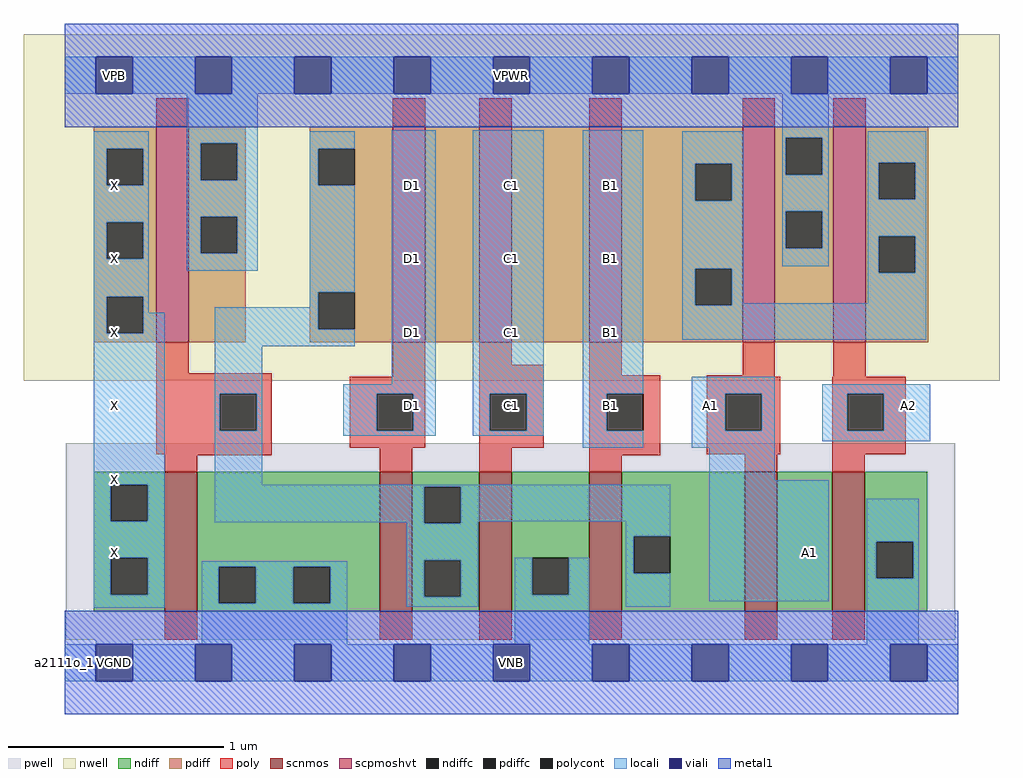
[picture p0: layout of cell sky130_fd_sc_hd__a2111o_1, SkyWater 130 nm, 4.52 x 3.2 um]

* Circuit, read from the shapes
.subckt sky130_fd_sc_hd__a2111o_1 A1 A2 B1 C1 D1 VGND VNB VPB VPWR X
XM1 VGND n1 X VNB sky130_fd_pr__nfet_01v8 w=0.65 l=0.15
XM2 n1 D1 VGND VNB sky130_fd_pr__nfet_01v8 w=0.65 l=0.15
XM3 VGND C1 n1 VNB sky130_fd_pr__nfet_01v8 w=0.65 l=0.15
XM4 n1 B1 VGND VNB sky130_fd_pr__nfet_01v8 w=0.65 l=0.15
XM5 n2 A1 n1 VNB sky130_fd_pr__nfet_01v8 w=0.65 l=0.15
XM6 VGND A2 n2 VNB sky130_fd_pr__nfet_01v8 w=0.65 l=0.15
XM7 VPWR n1 X VPB sky130_fd_pr__pfet_01v8_hvt w=1 l=0.15
XM8 n3 D1 n1 VPB sky130_fd_pr__pfet_01v8_hvt w=1 l=0.15
XM9 n4 C1 n3 VPB sky130_fd_pr__pfet_01v8_hvt w=1 l=0.15
XM10 n5 B1 n4 VPB sky130_fd_pr__pfet_01v8_hvt w=1 l=0.15
XM11 VPWR A1 n5 VPB sky130_fd_pr__pfet_01v8_hvt w=1 l=0.15
XM12 n5 A2 VPWR VPB sky130_fd_pr__pfet_01v8_hvt w=1 l=0.15
.ends

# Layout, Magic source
magic
tech sky130A
magscale 1 2
<< nwell >>
rect -38 261 866 582
<< pwell >>
rect 1 21 825 203
rect 29 -17 63 21
rect 397 -17 431 21
<< scnmos >>
rect 93 47 123 177
rect 292 47 322 177
rect 384 47 414 177
rect 486 47 516 177
rect 630 47 660 177
rect 711 47 741 177
<< scpmoshvt >>
rect 85 297 115 497
rect 304 297 334 497
rect 384 297 414 497
rect 486 297 516 497
rect 628 297 658 497
rect 712 297 742 497
<< ndiff >>
rect 27 165 93 177
rect 27 131 43 165
rect 77 131 93 165
rect 27 97 93 131
rect 27 63 43 97
rect 77 63 93 97
rect 27 47 93 63
rect 123 89 292 177
rect 123 55 143 89
rect 177 55 212 89
rect 246 55 292 89
rect 123 47 292 55
rect 322 163 384 177
rect 322 129 333 163
rect 367 129 384 163
rect 322 95 384 129
rect 322 61 333 95
rect 367 61 384 95
rect 322 47 384 61
rect 414 97 486 177
rect 414 63 433 97
rect 467 63 486 97
rect 414 47 486 63
rect 516 117 630 177
rect 516 83 527 117
rect 561 83 630 117
rect 516 47 630 83
rect 660 47 711 177
rect 741 112 799 177
rect 741 78 752 112
rect 786 78 799 112
rect 741 47 799 78
<< pdiff >>
rect 27 476 85 497
rect 27 442 39 476
rect 73 442 85 476
rect 27 408 85 442
rect 27 374 39 408
rect 73 374 85 408
rect 27 339 85 374
rect 27 305 39 339
rect 73 305 85 339
rect 27 297 85 305
rect 115 481 168 497
rect 115 447 126 481
rect 160 447 168 481
rect 115 413 168 447
rect 115 379 126 413
rect 160 379 168 413
rect 115 297 168 379
rect 227 476 304 497
rect 227 442 235 476
rect 269 442 304 476
rect 227 343 304 442
rect 227 309 235 343
rect 269 309 304 343
rect 227 297 304 309
rect 334 297 384 497
rect 414 297 486 497
rect 516 462 628 497
rect 516 428 584 462
rect 618 428 628 462
rect 516 365 628 428
rect 516 331 584 365
rect 618 331 628 365
rect 516 297 628 331
rect 658 486 712 497
rect 658 452 668 486
rect 702 452 712 486
rect 658 418 712 452
rect 658 384 668 418
rect 702 384 712 418
rect 658 297 712 384
rect 742 463 800 497
rect 742 429 754 463
rect 788 429 800 463
rect 742 395 800 429
rect 742 361 754 395
rect 788 361 800 395
rect 742 297 800 361
<< ndiffc >>
rect 43 131 77 165
rect 43 63 77 97
rect 143 55 177 89
rect 212 55 246 89
rect 333 129 367 163
rect 333 61 367 95
rect 433 63 467 97
rect 527 83 561 117
rect 752 78 786 112
<< pdiffc >>
rect 39 442 73 476
rect 39 374 73 408
rect 39 305 73 339
rect 126 447 160 481
rect 126 379 160 413
rect 235 442 269 476
rect 235 309 269 343
rect 584 428 618 462
rect 584 331 618 365
rect 668 452 702 486
rect 668 384 702 418
rect 754 429 788 463
rect 754 361 788 395
<< poly >>
rect 85 497 115 523
rect 304 497 334 523
rect 384 497 414 523
rect 486 497 516 523
rect 628 497 658 523
rect 712 497 742 523
rect 85 268 115 297
rect 85 249 192 268
rect 304 265 334 297
rect 85 215 144 249
rect 178 215 192 249
rect 85 193 192 215
rect 264 249 334 265
rect 264 215 289 249
rect 323 215 334 249
rect 264 199 334 215
rect 384 276 414 297
rect 384 249 444 276
rect 384 215 394 249
rect 428 215 444 249
rect 384 199 444 215
rect 486 266 516 297
rect 628 266 658 297
rect 486 249 552 266
rect 486 215 502 249
rect 536 215 552 249
rect 93 192 192 193
rect 93 177 123 192
rect 292 177 322 199
rect 384 177 414 199
rect 486 192 552 215
rect 595 265 658 266
rect 712 265 742 297
rect 595 249 663 265
rect 595 215 612 249
rect 646 215 663 249
rect 595 193 663 215
rect 711 249 779 265
rect 711 215 725 249
rect 759 215 779 249
rect 711 193 779 215
rect 486 177 516 192
rect 630 177 660 193
rect 711 177 741 193
rect 93 21 123 47
rect 292 21 322 47
rect 384 21 414 47
rect 486 21 516 47
rect 630 21 660 47
rect 711 21 741 47
<< polycont >>
rect 144 215 178 249
rect 289 215 323 249
rect 394 215 428 249
rect 502 215 536 249
rect 612 215 646 249
rect 725 215 759 249
<< locali >>
rect 0 527 29 561
rect 63 527 121 561
rect 155 527 213 561
rect 247 527 305 561
rect 339 527 397 561
rect 431 527 489 561
rect 523 527 581 561
rect 615 527 673 561
rect 707 527 765 561
rect 799 527 828 561
rect 27 476 78 492
rect 27 442 39 476
rect 73 442 78 476
rect 27 408 78 442
rect 27 374 39 408
rect 73 374 78 408
rect 27 339 78 374
rect 113 481 179 527
rect 113 447 126 481
rect 160 447 179 481
rect 113 413 179 447
rect 113 379 126 413
rect 160 379 179 413
rect 113 363 179 379
rect 227 476 269 492
rect 227 442 235 476
rect 27 305 39 339
rect 73 324 78 339
rect 227 343 269 442
rect 227 329 235 343
rect 73 305 93 324
rect 27 165 93 305
rect 27 131 43 165
rect 77 131 93 165
rect 27 97 93 131
rect 139 309 235 329
rect 139 293 269 309
rect 139 249 183 293
rect 303 258 344 493
rect 139 215 144 249
rect 178 215 183 249
rect 139 165 183 215
rect 258 249 344 258
rect 258 215 289 249
rect 323 215 344 249
rect 258 210 344 215
rect 378 249 444 493
rect 378 215 394 249
rect 428 215 444 249
rect 378 210 444 215
rect 480 249 536 493
rect 572 462 629 492
rect 572 428 584 462
rect 618 428 629 462
rect 572 365 629 428
rect 665 486 708 527
rect 665 452 668 486
rect 702 452 708 486
rect 665 418 708 452
rect 665 384 668 418
rect 702 384 708 418
rect 665 367 708 384
rect 744 463 798 492
rect 744 429 754 463
rect 788 429 798 463
rect 744 395 798 429
rect 572 331 584 365
rect 618 333 629 365
rect 744 361 754 395
rect 788 361 798 395
rect 744 333 798 361
rect 618 331 798 333
rect 572 299 798 331
rect 480 215 502 249
rect 480 199 536 215
rect 581 249 658 265
rect 581 215 612 249
rect 646 215 658 249
rect 581 199 658 215
rect 702 249 802 258
rect 702 215 725 249
rect 759 215 802 249
rect 702 205 802 215
rect 597 169 658 199
rect 139 163 561 165
rect 139 130 333 163
rect 27 63 43 97
rect 77 63 93 97
rect 317 129 333 130
rect 367 131 561 163
rect 367 129 383 131
rect 317 95 383 129
rect 520 117 561 131
rect 27 51 93 63
rect 127 89 262 94
rect 127 55 143 89
rect 177 55 212 89
rect 246 55 262 89
rect 127 17 262 55
rect 317 61 333 95
rect 367 61 383 95
rect 317 52 383 61
rect 417 63 433 97
rect 467 63 486 97
rect 417 17 486 63
rect 520 83 527 117
rect 520 52 561 83
rect 597 57 708 169
rect 743 112 791 152
rect 743 78 752 112
rect 786 78 791 112
rect 743 17 791 78
rect 0 -17 29 17
rect 63 -17 121 17
rect 155 -17 213 17
rect 247 -17 305 17
rect 339 -17 397 17
rect 431 -17 489 17
rect 523 -17 581 17
rect 615 -17 673 17
rect 707 -17 765 17
rect 799 -17 828 17
<< viali >>
rect 29 527 63 561
rect 121 527 155 561
rect 213 527 247 561
rect 305 527 339 561
rect 397 527 431 561
rect 489 527 523 561
rect 581 527 615 561
rect 673 527 707 561
rect 765 527 799 561
rect 29 -17 63 17
rect 121 -17 155 17
rect 213 -17 247 17
rect 305 -17 339 17
rect 397 -17 431 17
rect 489 -17 523 17
rect 581 -17 615 17
rect 673 -17 707 17
rect 765 -17 799 17
<< metal1 >>
rect 0 561 828 592
rect 0 527 29 561
rect 63 527 121 561
rect 155 527 213 561
rect 247 527 305 561
rect 339 527 397 561
rect 431 527 489 561
rect 523 527 581 561
rect 615 527 673 561
rect 707 527 765 561
rect 799 527 828 561
rect 0 496 828 527
rect 0 17 828 48
rect 0 -17 29 17
rect 63 -17 121 17
rect 155 -17 213 17
rect 247 -17 305 17
rect 339 -17 397 17
rect 431 -17 489 17
rect 523 -17 581 17
rect 615 -17 673 17
rect 707 -17 765 17
rect 799 -17 828 17
rect 0 -48 828 -17
<< labels >>
flabel nwell s 29 527 63 561 0 FreeSans 200 0 0 0 VPB
port 8 nsew power bidirectional
flabel metal1 s 29 -17 63 17 0 FreeSans 200 0 0 0 VGND
port 6 nsew ground bidirectional abutment
flabel metal1 s 29 527 63 561 0 FreeSans 200 0 0 0 VPWR
port 9 nsew power bidirectional abutment
flabel pwell s 397 -17 431 17 0 FreeSans 200 0 0 0 VNB
port 7 nsew ground bidirectional
flabel pwell s 29 -17 63 17 0 FreeSans 200 0 0 0 VNB
port 7 nsew ground bidirectional
flabel locali s 489 221 523 255 0 FreeSans 340 0 0 0 B1
port 3 nsew signal input
flabel locali s 29 425 63 459 0 FreeSans 340 0 0 0 X
port 10 nsew signal output
flabel locali s 305 221 339 255 0 FreeSans 340 0 0 0 D1
port 5 nsew signal input
flabel locali s 29 153 63 187 0 FreeSans 340 0 0 0 X
port 10 nsew signal output
flabel locali s 489 289 523 323 0 FreeSans 340 0 0 0 B1
port 3 nsew signal input
flabel locali s 673 85 707 119 0 FreeSans 340 0 0 0 A1
port 1 nsew signal input
flabel locali s 765 221 799 255 0 FreeSans 340 0 0 0 A2
port 2 nsew signal input
flabel locali s 29 357 63 391 0 FreeSans 340 0 0 0 X
port 10 nsew signal output
flabel locali s 29 289 63 323 0 FreeSans 340 0 0 0 X
port 10 nsew signal output
flabel locali s 29 221 63 255 0 FreeSans 340 0 0 0 X
port 10 nsew signal output
flabel locali s 29 85 63 119 0 FreeSans 340 0 0 0 X
port 10 nsew signal output
flabel locali s 397 357 431 391 0 FreeSans 340 0 0 0 C1
port 4 nsew signal input
flabel locali s 305 289 339 323 0 FreeSans 340 0 0 0 D1
port 5 nsew signal input
flabel locali s 305 357 339 391 0 FreeSans 340 0 0 0 D1
port 5 nsew signal input
flabel locali s 305 425 339 459 0 FreeSans 340 0 0 0 D1
port 5 nsew signal input
flabel locali s 397 289 431 323 0 FreeSans 340 0 0 0 C1
port 4 nsew signal input
flabel locali s 397 221 431 255 0 FreeSans 340 0 0 0 C1
port 4 nsew signal input
flabel locali s 397 425 431 459 0 FreeSans 340 0 0 0 C1
port 4 nsew signal input
flabel locali s 489 357 523 391 0 FreeSans 340 0 0 0 B1
port 3 nsew signal input
flabel locali s 489 425 523 459 0 FreeSans 340 0 0 0 B1
port 3 nsew signal input
flabel locali s 581 221 615 255 0 FreeSans 340 0 0 0 A1
port 1 nsew signal input
rlabel comment s 0 0 0 0 4 a2111o_1
rlabel metal1 s 0 -48 828 48 1 VGND
port 6 nsew ground bidirectional abutment
rlabel metal1 s 0 496 828 592 1 VPWR
port 9 nsew power bidirectional abutment
<< properties >>
string FIXED_BBOX 0 0 828 544
string GDS_END 3742068
string GDS_FILE $PDKPATH/libs.ref/sky130_fd_sc_hd/gds/sky130_fd_sc_hd.gds
string GDS_START 3733376
string LEFclass CORE
string LEFsite unithd
string LEFsymmetry X Y R90
string path 0.000 0.000 20.700 0.000 
<< end >>
